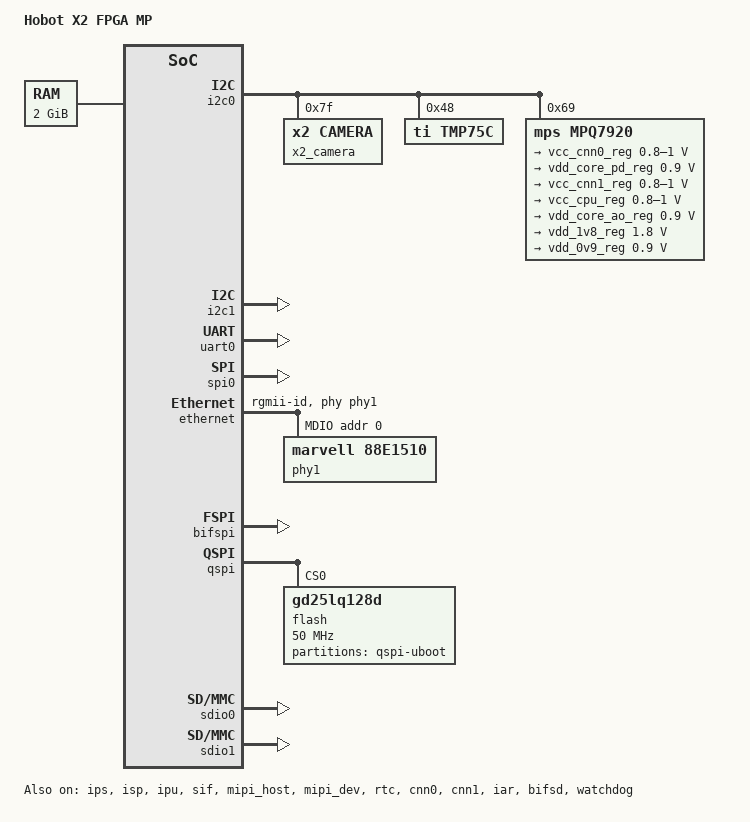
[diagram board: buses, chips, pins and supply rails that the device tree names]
/*
 * dts file for Hobot X2 FPGA
 *
 * (C) Copyright 2018, Horizon, Inc.
 *
 *
 * This program is free software; you can redistribute it and/or
 * modify it under the terms of the GNU General Public License as
 * published by the Free Software Foundation; either version 2 of
 * the License, or (at your option) any later version.
 */

/dts-v1/;
#include "hobot.dtsi"
#include "hobot-pinctrl.dtsi"
#include "hobot-clk.dtsi"
#include <dt-bindings/gpio/gpio.h>
#include <dt-bindings/phy/phy.h>

/ {
	model = "Hobot X2 FPGA MP";
	compatible = "hobot,x2-fpga";

	aliases {
		serial0 = &uart0;
		serial1 = &uart1;
		serial2 = &uart2;
		serial3 = &uart3;
		i2c0	= &i2c0;
		i2c1	= &i2c1;
		i2c2	= &i2c2;
		i2c3	= &i2c3;
		i2s0	= &i2s0;
		i2s1	= &i2s1;
		pwm0	= &pwm_0;
		pwm1	= &pwm_1;
		pwm2	= &pwm_2;
		bifsd   = &bifsd;
		bifspi  = &bifspi;
		mmc0    = &sdio0;
	};

	chosen {
		bootargs = "earlycon loglevel=8 console=ttyS0 clk_ignore_unused";
		stdout-path = "serial0:115200n8";
	};

	memory@0 {
		device_type = "memory";
		reg = <0x0 0x0 0x0 0x80000000>;
	};

	reserved-memory {
		#address-cells = <2>;
		#size-cells = <2>;
		ranges;

		bifsd_reserved: bifsd_reserved@0x3D089000 {
		    reg = <0x0 0x3D089000 0x0 0x1000>;
		    no-map;
		};
		iar_reserved: iar_reserved@0x3D08A000 {
		    reg = <0x0 0x3D08A000 0x0 0x2F76000>;
		    no-map;
		};

		/* Reserved 512MB memory for cnn subsystem */
		cnn_reserved: cnn_reserved@0x40000000 {
		    reg = <0x0 0x40000000 0x0 0x20000000>;
		};

		/* Reserved 512MB memory for ipu subsystem */
		ipu_reserved: ipu_reserved@0x60000000 {
		    reg = <0x0 0x60000000 0x0 0x20000000>;
		    /*no-map;*/
		};

		/*Reserved 8M memory for isp_subsystem*/
		isp_reserved: isp_reserved@0x80000000 {
			reg = <0x0 0x10100000 0x0 0x00800000>;
		};
		
		/*Reserved 1M memory for bifbase*/
		bif_base_reserved: bif_base_reserved@0x20000000 {
			reg = <0x0 0x20000000 0x0 0x00100000>;
			no-map;
		};
	};

	bif_base {
		compatible = "hobot,bif_base";
		memory-region = <&bif_base_reserved>;
		/*x2 som: GPIO6[1]: 95, GPIO0[7]: 7*/
		bif_base_irq_pin = <95>;
		bif_base_tri_pin = <7>;
	};

	cnn_mm {
		compatible = "hobot,cnn-mm";
		#address-cells = <1>;
		#size-cells = <0>;

		memory-region = <&cnn_reserved>;

		cnn_heap@0 {
			reg = <0>;
			label = "cnn0_model_mm";
			type = <1>;
		};

		cnn_heap@1 {
			reg = <1>;
			label = "cnn1_model_mm";
			type = <1>;
		};

		cnn_heap@2 {
			reg = <2>;
			label = "cnn_rt_mm";
			type = <1>;
		};

		cnn_heap@3 {
			reg = <3>;
			label = "cnn_result_mm";
			type = <1>;
		};
	};
};

&i2c0 {
	status = "okay";
	#address-cells = <1>;
	#size-cells = <0>;
	x2_camera@0x7f {
	    compatible = "x2,camera";
	    reg = <0x7f>;
	};
	tmp75c@48 {
                compatible = "ti,tmp75c";
		reg = <0x48>;
	};
	mpq7920@69 {
		compatible = "mps,mpq7920";
		reg = <0x69>;
		regulators {
			vcc_cnn0_reg: DCDC1 {
				regulator-name = "VCC_CNN0";
				regulator-min-microvolt = <800000>;
				regulator-max-microvolt = <1000000>;
			};

			vdd_core_pd_reg: DCDC2 {
				regulator-name = "VDD_CORE_PD";
				regulator-min-microvolt = <900000>;
				regulator-max-microvolt = <900000>;
				regulator-always-on;
			};

			vcc_cnn1_reg: DCDC3 {
				regulator-name = "VCC_CNN1";
				regulator-min-microvolt = <800000>;
				regulator-max-microvolt = <1000000>;
			};

			vcc_cpu_reg: DCDC4 {
				regulator-name = "VCC_CPU";
				regulator-min-microvolt = <800000>;
				regulator-max-microvolt = <1000000>;
				regulator-always-on;
			};

			vdd_core_ao_reg: LDO3 {
				regulator-name = "VDD_CORE_AO";
				regulator-min-microvolt = <900000>;
				regulator-max-microvolt = <900000>;
				regulator-always-on;
			};

			vdd_1v8_reg: LDO4 {
				regulator-name = "VDD_1V8";
				regulator-min-microvolt = <1800000>;
				regulator-max-microvolt = <1800000>;
				regulator-always-on;
			};

			vdd_0v9_reg: LDO5 {
				regulator-name = "VDD_0V9";
				regulator-min-microvolt = <900000>;
				regulator-max-microvolt = <900000>;
				regulator-always-on;
			};
		};
	};
};

&i2c1 {
	status = "okay";
};

&pinctrl {
	status = "okay";
};

&uart0 {
	status = "okay";
	clocks = <&uart0_mclk>;
	clock-names = "uart_mclk";
};

&ips {
	clocks = <&vio_pllmux_clk>, <&mipi_ipi_1stdiv_clk>, <&mipi_ipi_2nddiv_clk>;
	clock-names = "vio_pllmux", "ipi_div1", "ipi_div2";
	status = "okay";
};

&isp {
	status = "okay";
};

&ipu {
	status = "okay";
};

&sif {
	status = "okay";
};
&mipi_host {
	status = "okay";
};

&mipi_dev {
	status = "okay";
};

&dma {
	status = "okay";
};

&x2dmatest {
	status = "disabled";
};

&rtc {
	status = "okay";
};

&pwm_0 {
	status = "disabled";
};

&spi0 {
	status = "okay";
};

&ethernet {
	status = "okay";
	clocks = <&eth0_ephy_2nddiv_clk>, <&eth0_prediv_clk>, <&eth0_div_clk>;
	clock-names = "phy_ref_clk", "mac_pre_div_clk", "mac_div_clk";

	pinctrl-names = "default";
	pinctrl-0 = <&eth_func>;

	/* local-mac-address = [ 00 11 22 33 44 55 ]; */
	phy-handle = <&phy1>;
	phy-mode = "rgmii-id";
	mdio {
		#address-cells = <0x1>;
		#size-cells = <0x0>;
		phy1: phy@0 {
			compatible = "marvell,88E1510","ethernet-phy-ieee802.3-c22";
			reg = <0x0>;
		};
	};
};

&cpu0 {
	status = "okay";
	cnn0-supply = <&vcc_cpu_reg>;
};

&cnn0 {
	status = "okay";
	cnn0-supply = <&vcc_cnn0_reg>;
};

&cnn1 {
	status = "okay";
	cnn1-supply = <&vcc_cnn1_reg>;
};

&iar {
	status = "okay";
};

&bifspi {
	status = "okay";
};

&bifsd {
	status = "okay";
	/*cd-gpio = <91>;*/
};

&qspi {
	status = "okay";
	qspi-mode = <1>;
	#address-cells = <1>;
	#size-cells = <0>;
	clocks = <&sys_qspi_aclk>;
	clock-names = "qspi_aclk";

	flash@0 {
		compatible = "gd25lq128d";
		#address-cells = <1>;
		#size-cells = <1>;
		reg = <0x0>;
		spi-tx-bus-width = <4>;
		spi-rx-bus-width = <4>;
		spi-max-frequency = <50000000>;

		partition@qspi-uboot {
			label = "qspi-uboot";
			reg = <0x200000 0x200000>;
		};
	};
};
&sdio0 {
	status = "okay";
};

&sdio1 {
	status = "okay";
};

&watchdog {
	status = "okay";
};

&i2s0 {
	status = "disabled";
	clocks = <&i2s0_mclk>, <&i2s0_bclk>;
	clock-names = "i2s_mclk", "i2s_bclk";
};

&i2s1 {
	status = "disabled";
	clocks = <&i2s1_mclk>, <&i2s1_bclk>;
	clock-names = "i2s_mclk", "i2s_bclk";
};
